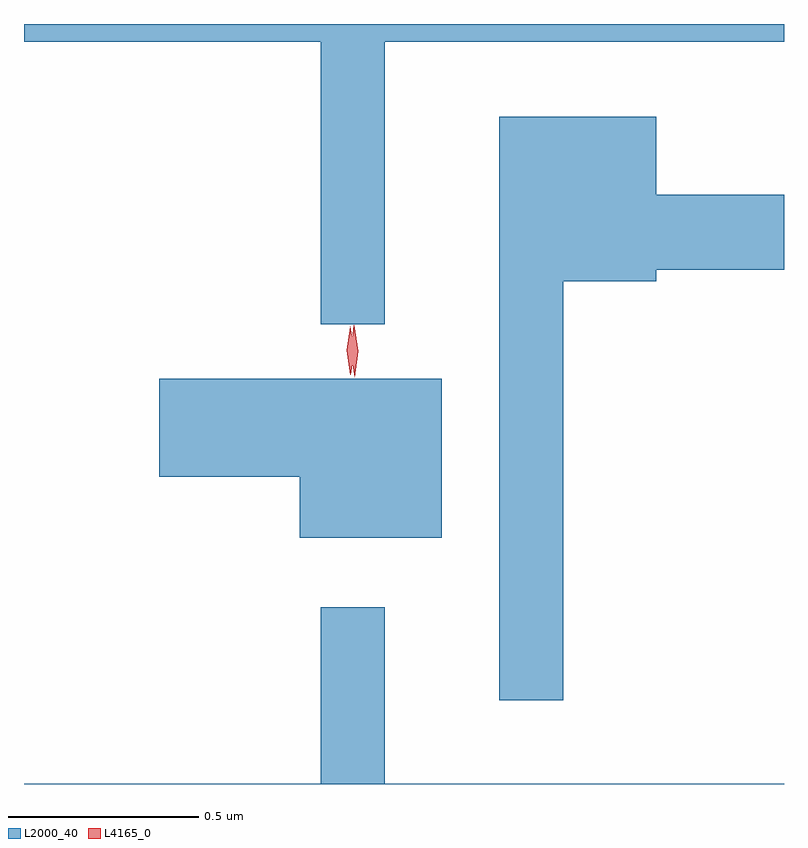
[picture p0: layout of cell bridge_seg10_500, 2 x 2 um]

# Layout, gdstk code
import gdstk
lib = gdstk.Library(unit=1e-6, precision=1e-09)
def P(c, l, *ps):  # polygons
    for p in ps: c.add(gdstk.Polygon(p, *l))
L2000_40 = (2000, 40)
L4165_0 = (4165, 0)

bridge_seg10_500 = lib.new_cell('bridge_seg10_500')
P(bridge_seg10_500, L2000_40, [(968.839,2189.396),(969.89,2189.396),(969.89,2189.443),(967.89,2189.443),(967.89,2189.396),(968.671,2189.396),(968.671,2188.653),(968.839,2188.653)],
  [(969.309,2188.766),(969.554,2188.766),(969.554,2188.796),(969.89,2188.796),(969.89,2188.994),(969.554,2188.994),(969.554,2189.199),(969.141,2189.199),(969.141,2187.663),(969.309,2187.663)],
  [(968.989,2188.509),(968.246,2188.509),(968.246,2188.251),(968.616,2188.251),(968.616,2188.091),(968.989,2188.091)],
  [(969.89,2187.444),(968.839,2187.444),(968.839,2187.908),(968.671,2187.908),(968.671,2187.444),(967.89,2187.444),(967.89,2187.443),(969.89,2187.443)])
P(bridge_seg10_500, L4165_0, [(968.76,2188.514),(968.76,2188.514),(968.75,2188.582),(968.758,2188.65),(968.759,2188.65),(968.759,2188.65),(968.769,2188.582),(968.761,2188.514)],
  [(968.749,2188.52),(968.739,2188.584),(968.748,2188.646),(968.748,2188.647),(968.749,2188.646),(968.759,2188.584),(968.75,2188.52),(968.75,2188.52)])

lib.write_gds('bridge_seg10_500.gds')
